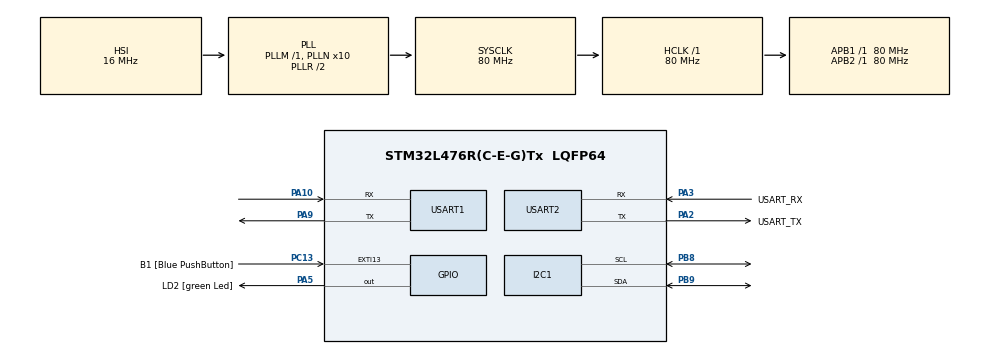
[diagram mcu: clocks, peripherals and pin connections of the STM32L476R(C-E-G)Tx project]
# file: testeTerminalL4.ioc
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FREERTOS.Mutexes01=uartMutex,Dynamic,NULL,Available
FREERTOS.Queues01=eventQueue,16,Event_t,0,Dynamic,NULL,NULL;transmitQueue,4,Telemetry_t,0,Dynamic,NULL,NULL;receiveQueue,16,uint16_t,0,Dynamic,NULL,NULL
FREERTOS.Tasks01=mainTask,24,128,StartMainTask,Default,NULL,Dynamic,NULL,NULL;housekeepTask,8,128,StartHousekeepTask,Default,NULL,Dynamic,NULL,NULL;transmitTask,8,128,StartTransmitTask,Default,NULL,Dynamic,NULL,NULL;receiveTask,8,128,StartReceiveTask,Default,NULL,Dynamic,NULL,NULL;deployTask,8,128,StartDeployTask,Default,NULL,Dynamic,NULL,NULL;detumblingTask,8,128,StartDetumblingTask,Default,NULL,Dynamic,NULL,NULL;missionTask,8,128,StartMissionTask,Default,NULL,Dynamic,NULL,NULL
FREERTOS.Timers01=HkTickTimer,vHkTickCallback,osTimerPeriodic,Default,NULL,Dynamic,NULL;TcSlotTimer,vTcSlotCallback,osTimerPeriodic,Default,NULL,Dynamic,NULL;TcSlotOffsetTime,vTcSlotOffsetCallback,osTimerOnce,Default,NULL,Dynamic,NULL
FREERTOS.configTOTAL_HEAP_SIZE=8192
I2C1.Timing=0x10D19CE4
Mcu.Family=STM32L4
Mcu.Name=STM32L476R(C-E-G)Tx
Mcu.Package=LQFP64
NVIC.PriorityGroup=NVIC_PRIORITYGROUP_4
NVIC.TIM6_DAC_IRQn=true\:15\:0\:false\:false\:true\:false\:false\:true\:true
NVIC.TimeBase=TIM6_DAC_IRQn
NVIC.TimeBaseIP=TIM6
NVIC.USART2_IRQn=true\:5\:0\:false\:false\:true\:true\:true\:true\:true
PA10.Mode=Asynchronous
PA10.Signal=USART1_RX
PA13\ (JTMS-SWDIO).GPIO_Label=TMS
PA13\ (JTMS-SWDIO).Mode=Serial_Wire
PA13\ (JTMS-SWDIO).Signal=SYS_JTMS-SWDIO
PA14\ (JTCK-SWCLK).GPIO_Label=TCK
PA14\ (JTCK-SWCLK).Mode=Serial_Wire
PA14\ (JTCK-SWCLK).Signal=SYS_JTCK-SWCLK
PA2.GPIO_Label=USART_TX
PA2.GPIO_Mode=GPIO_MODE_AF_PP
PA2.GPIO_PuPd=GPIO_NOPULL
PA2.GPIO_Speed=GPIO_SPEED_FREQ_VERY_HIGH
PA2.Mode=Asynchronous
PA2.Signal=USART2_TX
PA3.GPIO_Label=USART_RX
PA3.GPIO_Mode=GPIO_MODE_AF_PP
PA3.GPIO_PuPd=GPIO_NOPULL
PA3.GPIO_Speed=GPIO_SPEED_FREQ_VERY_HIGH
PA3.Mode=Asynchronous
PA3.Signal=USART2_RX
PA5.GPIO_Label=LD2 [green Led]
PA5.GPIO_ModeDefaultOutputPP=GPIO_MODE_OUTPUT_PP
PA5.GPIO_PuPd=GPIO_NOPULL
PA5.GPIO_Speed=GPIO_SPEED_FREQ_LOW
PA5.Signal=GPIO_Output
PA9.Mode=Asynchronous
PA9.Signal=USART1_TX
PB3\ (JTDO-TRACESWO).GPIO_Label=SWO
PB3\ (JTDO-TRACESWO).Signal=SYS_JTDO-SWO
PB8.Mode=I2C
PB8.Signal=I2C1_SCL
PB9.Mode=I2C
PB9.Signal=I2C1_SDA
PC13.GPIO_Label=B1 [Blue PushButton]
PC13.GPIO_ModeDefaultEXTI=GPIO_MODE_IT_FALLING
PC13.GPIO_PuPd=GPIO_NOPULL
PC13.Signal=GPXTI13
PC14-OSC32_IN\ (PC14).Mode=LSE-External-Oscillator
PC14-OSC32_IN\ (PC14).Signal=RCC_OSC32_IN
PC15-OSC32_OUT\ (PC15).Mode=LSE-External-Oscillator
PC15-OSC32_OUT\ (PC15).Signal=RCC_OSC32_OUT
PH0-OSC_IN\ (PH0).Signal=RCC_OSC_IN
PH1-OSC_OUT\ (PH1).Signal=RCC_OSC_OUT
ProjectManager.HeapSize=0x200
ProjectManager.StackSize=0x400
ProjectManager.TargetToolchain=CMake
RCC.ADCFreq_Value=64000000
RCC.AHBFreq_Value=80000000
RCC.APB1Freq_Value=80000000
RCC.APB1TimFreq_Value=80000000
RCC.APB2Freq_Value=80000000
RCC.APB2TimFreq_Value=80000000
RCC.CortexFreq_Value=80000000
RCC.HCLKFreq_Value=80000000
RCC.HSE_VALUE=8000000
RCC.HSI_VALUE=16000000
RCC.MSI_VALUE=4000000
RCC.PLLN=10
RCC.PLLSourceVirtual=RCC_PLLSOURCE_HSI
RCC.PREFETCH_ENABLE=1
RCC.SYSCLKFreq_VALUE=80000000
RCC.SYSCLKSource=RCC_SYSCLKSOURCE_PLLCLK
RCC.USBFreq_Value=64000000
RCC.VCOOutputFreq_Value=160000000
USART1.VirtualMode-Asynchronous=VM_ASYNC
USART2.VirtualMode-Asynchronous=VM_ASYNC
VP_FREERTOS_VS_CMSIS_V2.Mode=CMSIS_V2
VP_SYS_VS_tim6.Mode=TIM6
board=NUCLEO-L476RG

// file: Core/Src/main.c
/* USER CODE BEGIN Header */
/**
  ******************************************************************************
  * @file           : main.c
  * @brief          : Main program body
  ******************************************************************************
  * @attention
  *
  * Copyright (c) 2026 STMicroelectronics.
  * All rights reserved.
  *
  * This software is licensed under terms that can be found in the LICENSE file
  * in the root directory of this software component.
  * If no LICENSE file comes with this software, it is provided AS-IS.
  *
  ******************************************************************************
  */
/* USER CODE END Header */
#include "main.h"
#include "cmsis_os.h"

/* USER CODE BEGIN Includes */
#include "DS3231.h"
#include "BME280.h"
#include "cmsis_os2.h"
#include <stdio.h>
/* USER CODE END Includes */

/* USER CODE BEGIN PD */

#define period 10000
#define rx_window 5000
/* USER CODE END PD */

I2C_HandleTypeDef hi2c1;

UART_HandleTypeDef huart1;
UART_HandleTypeDef huart2;

/* Definitions for mainTask */
osThreadId_t mainTaskHandle;
const osThreadAttr_t mainTask_attributes = {
  .name = "mainTask",
  .stack_size = 128 * 4,
  .priority = (osPriority_t) osPriorityNormal,
};
/* Definitions for housekeepTask */
osThreadId_t housekeepTaskHandle;
const osThreadAttr_t housekeepTask_attributes = {
  .name = "housekeepTask",
  .stack_size = 128 * 4,
  .priority = (osPriority_t) osPriorityLow,
};
/* Definitions for transmitTask */
osThreadId_t transmitTaskHandle;
const osThreadAttr_t transmitTask_attributes = {
  .name = "transmitTask",
  .stack_size = 128 * 4,
  .priority = (osPriority_t) osPriorityLow,
};
/* Definitions for receiveTask */
osThreadId_t receiveTaskHandle;
const osThreadAttr_t receiveTask_attributes = {
  .name = "receiveTask",
  .stack_size = 128 * 4,
  .priority = (osPriority_t) osPriorityLow,
};
/* Definitions for deployTask */
osThreadId_t deployTaskHandle;
const osThreadAttr_t deployTask_attributes = {
  .name = "deployTask",
  .stack_size = 128 * 4,
  .priority = (osPriority_t) osPriorityLow,
};
/* Definitions for detumblingTask */
osThreadId_t detumblingTaskHandle;
const osThreadAttr_t detumblingTask_attributes = {
  .name = "detumblingTask",
  .stack_size = 128 * 4,
  .priority = (osPriority_t) osPriorityLow,
};
/* Definitions for missionTask */
osThreadId_t missionTaskHandle;
const osThreadAttr_t missionTask_attributes = {
  .name = "missionTask",
  .stack_size = 128 * 4,
  .priority = (osPriority_t) osPriorityLow,
};
/* Definitions for eventQueue */
osMessageQueueId_t eventQueueHandle;
const osMessageQueueAttr_t eventQueue_attributes = {
  .name = "eventQueue"
};
/* Definitions for transmitQueue */
osMessageQueueId_t transmitQueueHandle;
const osMessageQueueAttr_t transmitQueue_attributes = {
  .name = "transmitQueue"
};
/* Definitions for receiveQueue */
osMessageQueueId_t receiveQueueHandle;
const osMessageQueueAttr_t receiveQueue_attributes = {
  .name = "receiveQueue"
};
/* Definitions for HkTickTimer */
osTimerId_t HkTickTimerHandle;
const osTimerAttr_t HkTickTimer_attributes = {
  .name = "HkTickTimer"
};
/* Definitions for TcSlotTimer */
osTimerId_t TcSlotTimerHandle;
const osTimerAttr_t TcSlotTimer_attributes = {
  .name = "TcSlotTimer"
};
/* Definitions for TcSlotOffsetTime */
osTimerId_t TcSlotOffsetTimeHandle;
const osTimerAttr_t TcSlotOffsetTime_attributes = {
  .name = "TcSlotOffsetTime"
};
/* Definitions for uartMutex */
osMutexId_t uartMutexHandle;
const osMutexAttr_t uartMutex_attributes = {
  .name = "uartMutex"
};

void SystemClock_Config(void);
static void MX_GPIO_Init(void);
static void MX_USART2_UART_Init(void);
static void MX_I2C1_Init(void);
static void MX_USART1_UART_Init(void);
void StartMainTask(void *argument);
void StartHousekeepTask(void *argument);
void StartTransmitTask(void *argument);
void StartReceiveTask(void *argument);
void StartDeployTask(void *argument);
void StartDetumblingTask(void *argument);
void StartMissionTask(void *argument);
void vHkTickCallback(void *argument);
void vTcSlotCallback(void *argument);
void vTcSlotOffsetCallback(void *argument);

int main(void)
{

  /* MCU Configuration--------------------------------------------------------*/

  /* Reset of all peripherals, Initializes the Flash interface and the Systick. */
  HAL_Init();

  /* Configure the system clock */
  SystemClock_Config();

  /* Initialize all configured peripherals */
  MX_GPIO_Init();
  MX_USART2_UART_Init();
  MX_I2C1_Init();
  MX_USART1_UART_Init();

  /* Init scheduler */
  osKernelInitialize();
  /* Create the mutex(es) */
  /* creation of uartMutex */
  uartMutexHandle = osMutexNew(&uartMutex_attributes);

  /* Create the timer(s) */
  /* creation of HkTickTimer */
  HkTickTimerHandle = osTimerNew(vHkTickCallback, osTimerPeriodic, NULL, &HkTickTimer_attributes);

  /* creation of TcSlotTimer */
  TcSlotTimerHandle = osTimerNew(vTcSlotCallback, osTimerPeriodic, NULL, &TcSlotTimer_attributes);

  /* creation of TcSlotOffsetTime */
  TcSlotOffsetTimeHandle = osTimerNew(vTcSlotOffsetCallback, osTimerOnce, NULL, &TcSlotOffsetTime_attributes);

  /* Create the queue(s) */
  /* creation of eventQueue */
  eventQueueHandle = osMessageQueueNew (16, sizeof(Event_t), &eventQueue_attributes);

  /* creation of transmitQueue */
  transmitQueueHandle = osMessageQueueNew (4, sizeof(Telemetry_t), &transmitQueue_attributes);

  /* creation of receiveQueue */
  receiveQueueHandle = osMessageQueueNew (16, sizeof(uint16_t), &receiveQueue_attributes);

  /* Create the thread(s) */
  /* creation of mainTask */
  mainTaskHandle = osThreadNew(StartMainTask, NULL, &mainTask_attributes);

  /* creation of housekeepTask */
  housekeepTaskHandle = osThreadNew(StartHousekeepTask, NULL, &housekeepTask_attributes);

  /* creation of transmitTask */
  transmitTaskHandle = osThreadNew(StartTransmitTask, NULL, &transmitTask_attributes);

  /* creation of receiveTask */
  receiveTaskHandle = osThreadNew(StartReceiveTask, NULL, &receiveTask_attributes);

  /* creation of deployTask */
  deployTaskHandle = osThreadNew(StartDeployTask, NULL, &deployTask_attributes);

  /* creation of detumblingTask */
  detumblingTaskHandle = osThreadNew(StartDetumblingTask, NULL, &detumblingTask_attributes);

  /* creation of missionTask */
  missionTaskHandle = osThreadNew(StartMissionTask, NULL, &missionTask_attributes);

  /* Start scheduler */
  osKernelStart();

  /* We should never get here as control is now taken by the scheduler */

  /* Infinite loop */
  while (1)
  {

  }
}

void SystemClock_Config(void)
{
  RCC_OscInitTypeDef RCC_OscInitStruct = {0};
  RCC_ClkInitTypeDef RCC_ClkInitStruct = {0};

  /** Configure the main internal regulator output voltage
  */
  if (HAL_PWREx_ControlVoltageScaling(PWR_REGULATOR_VOLTAGE_SCALE1) != HAL_OK)
  {
    Error_Handler();
  }

  /** Initializes the RCC Oscillators according to the specified parameters
  * in the RCC_OscInitTypeDef structure.
  */
  RCC_OscInitStruct.OscillatorType = RCC_OSCILLATORTYPE_HSI;
  RCC_OscInitStruct.HSIState = RCC_HSI_ON;
  RCC_OscInitStruct.HSICalibrationValue = RCC_HSICALIBRATION_DEFAULT;
  RCC_OscInitStruct.PLL.PLLState = RCC_PLL_ON;
  RCC_OscInitStruct.PLL.PLLSource = RCC_PLLSOURCE_HSI;
  RCC_OscInitStruct.PLL.PLLM = 1;
  RCC_OscInitStruct.PLL.PLLN = 10;
  RCC_OscInitStruct.PLL.PLLP = RCC_PLLP_DIV7;
  RCC_OscInitStruct.PLL.PLLQ = RCC_PLLQ_DIV2;
  RCC_OscInitStruct.PLL.PLLR = RCC_PLLR_DIV2;
  if (HAL_RCC_OscConfig(&RCC_OscInitStruct) != HAL_OK)
  {
    Error_Handler();
  }

  /** Initializes the CPU, AHB and APB buses clocks
  */
  RCC_ClkInitStruct.ClockType = RCC_CLOCKTYPE_HCLK|RCC_CLOCKTYPE_SYSCLK
                              |RCC_CLOCKTYPE_PCLK1|RCC_CLOCKTYPE_PCLK2;
  RCC_ClkInitStruct.SYSCLKSource = RCC_SYSCLKSOURCE_PLLCLK;
  RCC_ClkInitStruct.AHBCLKDivider = RCC_SYSCLK_DIV1;
  RCC_ClkInitStruct.APB1CLKDivider = RCC_HCLK_DIV1;
  RCC_ClkInitStruct.APB2CLKDivider = RCC_HCLK_DIV1;

  if (HAL_RCC_ClockConfig(&RCC_ClkInitStruct, FLASH_LATENCY_4) != HAL_OK)
  {
    Error_Handler();
  }
}

static void MX_I2C1_Init(void)
{

  hi2c1.Instance = I2C1;
  hi2c1.Init.Timing = 0x10D19CE4;
  hi2c1.Init.OwnAddress1 = 0;
  hi2c1.Init.AddressingMode = I2C_ADDRESSINGMODE_7BIT;
  hi2c1.Init.DualAddressMode = I2C_DUALADDRESS_DISABLE;
  hi2c1.Init.OwnAddress2 = 0;
  hi2c1.Init.OwnAddress2Masks = I2C_OA2_NOMASK;
  hi2c1.Init.GeneralCallMode = I2C_GENERALCALL_DISABLE;
  hi2c1.Init.NoStretchMode = I2C_NOSTRETCH_DISABLE;
  if (HAL_I2C_Init(&hi2c1) != HAL_OK)
  {
    Error_Handler();
  }

  /** Configure Analogue filter
  */
  if (HAL_I2CEx_ConfigAnalogFilter(&hi2c1, I2C_ANALOGFILTER_ENABLE) != HAL_OK)
  {
    Error_Handler();
  }

  /** Configure Digital filter
  */
  if (HAL_I2CEx_ConfigDigitalFilter(&hi2c1, 0) != HAL_OK)
  {
    Error_Handler();
  }

}

static void MX_USART1_UART_Init(void)
{

  huart1.Instance = USART1;
  huart1.Init.BaudRate = 115200;
  huart1.Init.WordLength = UART_WORDLENGTH_8B;
  huart1.Init.StopBits = UART_STOPBITS_1;
  huart1.Init.Parity = UART_PARITY_NONE;
  huart1.Init.Mode = UART_MODE_TX_RX;
  huart1.Init.HwFlowCtl = UART_HWCONTROL_NONE;
  huart1.Init.OverSampling = UART_OVERSAMPLING_16;
  huart1.Init.OneBitSampling = UART_ONE_BIT_SAMPLE_DISABLE;
  huart1.AdvancedInit.AdvFeatureInit = UART_ADVFEATURE_NO_INIT;
  if (HAL_UART_Init(&huart1) != HAL_OK)
  {
    Error_Handler();
  }

}

static void MX_USART2_UART_Init(void)
{

  huart2.Instance = USART2;
  huart2.Init.BaudRate = 115200;
  huart2.Init.WordLength = UART_WORDLENGTH_8B;
  huart2.Init.StopBits = UART_STOPBITS_1;
  huart2.Init.Parity = UART_PARITY_NONE;
  huart2.Init.Mode = UART_MODE_TX_RX;
  huart2.Init.HwFlowCtl = UART_HWCONTROL_NONE;
  huart2.Init.OverSampling = UART_OVERSAMPLING_16;
  huart2.Init.OneBitSampling = UART_ONE_BIT_SAMPLE_DISABLE;
  huart2.AdvancedInit.AdvFeatureInit = UART_ADVFEATURE_NO_INIT;
  if (HAL_UART_Init(&huart2) != HAL_OK)
  {
    Error_Handler();
  }

}

static void MX_GPIO_Init(void)
{
  GPIO_InitTypeDef GPIO_InitStruct = {0};

  /* GPIO Ports Clock Enable */
  __HAL_RCC_GPIOC_CLK_ENABLE();
  __HAL_RCC_GPIOH_CLK_ENABLE();
  __HAL_RCC_GPIOA_CLK_ENABLE();
  __HAL_RCC_GPIOB_CLK_ENABLE();

  /*Configure GPIO pin Output Level */
  HAL_GPIO_WritePin(LD2_GPIO_Port, LD2_Pin, GPIO_PIN_RESET);

  /*Configure GPIO pin : B1_Pin */
  GPIO_InitStruct.Pin = B1_Pin;
  GPIO_InitStruct.Mode = GPIO_MODE_IT_FALLING;
  GPIO_InitStruct.Pull = GPIO_NOPULL;
  HAL_GPIO_Init(B1_GPIO_Port, &GPIO_InitStruct);

  /*Configure GPIO pin : LD2_Pin */
  GPIO_InitStruct.Pin = LD2_Pin;
  GPIO_InitStruct.Mode = GPIO_MODE_OUTPUT_PP;
  GPIO_InitStruct.Pull = GPIO_NOPULL;
  GPIO_InitStruct.Speed = GPIO_SPEED_FREQ_LOW;
  HAL_GPIO_Init(LD2_GPIO_Port, &GPIO_InitStruct);

}

/* USER CODE BEGIN 4 */
void initializeEverything(BME280_HandleTypeDef *BMEBat) {
	Set_Time(0, 49, 2, 0, 2, 9, 26);
	BME280_initDefault(BMEBat, hi2c1);
	BME280_setOversampling(BMEBat, BME280_OS_16x, PSSR);
}

int __io_putchar (int ch) {
	HAL_UART_Transmit(&huart2, (uint8_t*)&ch, 1, HAL_MAX_DELAY);
	return ch;
	}

/* USER CODE END 4 */

void StartMainTask(void *argument)
{
  /* USER CODE BEGIN 5 */
  // Inicia maquina de estados com modo idle
  Event_t evt;
  SatState_t state = STATE_IDLE;

  // Inicia os timers de Housekeeping e offset para transmissao (meio periodo)
  osTimerStart(HkTickTimerHandle, pdMS_TO_TICKS(period));
  osTimerStart(TcSlotOffsetTimeHandle, pdMS_TO_TICKS(period/2));

  /* Infinite loop */
  for(;;)
  {
    osMessageQueueGet(eventQueueHandle, &evt, NULL, osWaitForever);

		switch (state) {
		case STATE_IDLE:
		  if (evt.type == EVT_HK_DONE) {
			  state = STATE_TRANSMIT;
			  Telemetry_t *pkt = (Telemetry_t*) evt.content;
			  osMessageQueuePut(transmitQueueHandle, &pkt, 0, 0);
      } else if (evt.type == EVT_RX_DONE) {
        uint8_t tc = *((uint8_t*) evt.content);
        if (tc == 0x01) {
          state = STATE_MISSION;
				  osThreadFlagsSet(missionTaskHandle, 0x01);
        } else if (tc == 0x02) {
          state = STATE_DEPLOY;
				  osThreadFlagsSet(deployTaskHandle, 0x01);
        } else if (tc == 0x03) {
          state = STATE_DETUMBLING;
				  osThreadFlagsSet(detumblingTaskHandle, 0x01);
        }
      }
      break;
    case STATE_TRANSMIT:
		  if (evt.type == EVT_TX_DONE) {
			  state = STATE_IDLE;
		  }
      break;
    case STATE_MISSION:
		  if (evt.type == EVT_MISSION_DONE) {
			  state = STATE_IDLE;
		  }
		  break;
		case STATE_DEPLOY:
		  if (evt.type == EVT_DEPLOY_DONE) {
			  state = STATE_IDLE;
		  }
		  break;
		case STATE_DETUMBLING:
		  if (evt.type == EVT_DETUMBLING_DONE) {
			  state = STATE_IDLE;
		  }
		  break;
    default:
    state = STATE_IDLE;
    break;
  }
  /* USER CODE END 5 */
}
}

void StartHousekeepTask(void *argument)
{
  /* USER CODE BEGIN StartHousekeepTask */
   Telemetry_t telemetryPacket;
  // uint8_t counter = 0;

	static BME280_HandleTypeDef BMEBat;
	initializeEverything(&BMEBat);
	/* Infinite loop */
  for(;;)
  {
    osThreadFlagsWait(0x01, osFlagsWaitAny, osWaitForever);

    Get_Time(&telemetryPacket.segundo, &telemetryPacket.minuto, &telemetryPacket.hora, NULL, &telemetryPacket.dia, &telemetryPacket.mes, &telemetryPacket.ano);
	  BME280_readSingleShot(&BMEBat);
    telemetryPacket.temperatura_bateria = BMEBat.READ.TEMP;
    // telemetryPacket.temperatura_bateria = 27.6;

    osMutexAcquire(uartMutexHandle, osWaitForever);
	  uint8_t marker = 'H';
	  HAL_UART_Transmit(&huart2, &marker, 1, 100);
	  osMutexRelease(uartMutexHandle);

	  Event_t evt = {EVT_HK_DONE, osKernelGetTickCount(), &telemetryPacket};
	  osMessageQueuePut(eventQueueHandle, &evt, 0, 0);
  }
  /* USER CODE END StartHousekeepTask */
}

void StartTransmitTask(void *argument)
{
  /* USER CODE BEGIN StartTransmitTask */
  Telemetry_t* telemetryPacket;
  /* Infinite loop */
  for(;;)
  {
    osMessageQueueGet(transmitQueueHandle, &telemetryPacket, NULL, osWaitForever);
	  // send telemetry to the earth
	  osMutexAcquire(uartMutexHandle, osWaitForever);
	  uint8_t marker = 'T';
	  HAL_UART_Transmit(&huart2, &marker, 1, 100);
	  HAL_UART_Transmit(&huart2, (uint8_t*) telemetryPacket, sizeof(Telemetry_t), 1000);
	  osMutexRelease(uartMutexHandle);

	  Event_t evt = {EVT_TX_DONE, osKernelGetTickCount(), NULL};
	  osMessageQueuePut(eventQueueHandle, &evt, 0, 0);
  }
  /* USER CODE END StartTransmitTask */
}

void StartReceiveTask(void *argument)
{
  /* USER CODE BEGIN StartReceiveTask */
  static uint8_t tc;
  /* Infinite loop */
  for(;;)
  {
	 osThreadFlagsWait(0x01, osFlagsWaitAny, osWaitForever);
	  // receive telecommand from earth
	  osMutexAcquire(uartMutexHandle, osWaitForever);
	  uint8_t marker = 'R';
	  HAL_UART_Transmit(&huart2, &marker, 1, 100);
	  osMutexRelease(uartMutexHandle);

	  osMutexAcquire(uartMutexHandle, osWaitForever);
	  HAL_UART_Receive(&huart2, &tc, 1, 5000);
	  osMutexRelease(uartMutexHandle);

	  osMutexAcquire(uartMutexHandle, osWaitForever);
	  printf("[%08lu] Telecommand received: 0x%02X\r\n", osKernelGetTickCount(), tc);
	  osMutexRelease(uartMutexHandle);

	  Event_t evt = {EVT_RX_DONE, osKernelGetTickCount(), &tc};
	  osMessageQueuePut(eventQueueHandle, &evt, 0, 0);
  /* USER CODE END StartReceiveTask */
}
}

void StartDeployTask(void *argument)
{
  /* USER CODE BEGIN StartDeployTask */
  /* Infinite loop */
  for(;;)
  {
    osThreadFlagsWait(0x01, osFlagsWaitAny, osWaitForever);

	  osMutexAcquire(uartMutexHandle, osWaitForever);
	  uint8_t marker = 'D';
	  HAL_UART_Transmit(&huart2, &marker, 1, 100);
	  osMutexRelease(uartMutexHandle);

	  Event_t evt = {EVT_DEPLOY_DONE, osKernelGetTickCount(), NULL};
	  osMessageQueuePut(eventQueueHandle, &evt, 0, 0);
  }
  /* USER CODE END StartDeployTask */
}

void StartDetumblingTask(void *argument)
{
  /* USER CODE BEGIN StartDetumblingTask */
  /* Infinite loop */
  for(;;)
  {
    osThreadFlagsWait(0x01, osFlagsWaitAny, osWaitForever);

	  osMutexAcquire(uartMutexHandle, osWaitForever);
	  uint8_t marker = 'B';
	  HAL_UART_Transmit(&huart2, &marker, 1, 100);
	  osMutexRelease(uartMutexHandle);

	  Event_t evt = {EVT_DETUMBLING_DONE, osKernelGetTickCount(), NULL};
	  osMessageQueuePut(eventQueueHandle, &evt, 0, 0);
  }
  /* USER CODE END StartDetumblingTask */
}

void StartMissionTask(void *argument)
{
  /* USER CODE BEGIN StartMissionTask */
  /* Infinite loop */
  for(;;)
  {
    osThreadFlagsWait(0x01, osFlagsWaitAny, osWaitForever);
	  osMutexAcquire(uartMutexHandle, osWaitForever);
	  uint8_t marker = 'M';
	  HAL_UART_Transmit(&huart2, &marker, 1, 100);
	  osMutexRelease(uartMutexHandle);
	  Event_t evt = {EVT_MISSION_DONE, osKernelGetTickCount(), NULL};
	  osMessageQueuePut(eventQueueHandle, &evt, 0, 0);
  }
  /* USER CODE END StartMissionTask */
}

/* vHkTickCallback function */
void vHkTickCallback(void *argument)
{
  /* USER CODE BEGIN vHkTickCallback */

	osThreadFlagsSet(housekeepTaskHandle, 0x01);
  /* USER CODE END vHkTickCallback */
}

/* vTcSlotCallback function */
void vTcSlotCallback(void *argument)
{
  /* USER CODE BEGIN vTcSlotCallback */

	osThreadFlagsSet(receiveTaskHandle, 0x01);
  /* USER CODE END vTcSlotCallback */
}

/* vTcSlotOffsetCallback function */
void vTcSlotOffsetCallback(void *argument)
{
  /* USER CODE BEGIN vTcSlotOffsetCallback */
	osTimerStart(TcSlotTimerHandle, pdMS_TO_TICKS(5000));

  /* USER CODE END vTcSlotOffsetCallback */
}

void HAL_TIM_PeriodElapsedCallback(TIM_HandleTypeDef *htim)
{
  if (htim->Instance == TIM6)
  {
    HAL_IncTick();
  }
}

void Error_Handler(void)
{
  __disable_irq();
  while (1)
  {
  }
}
